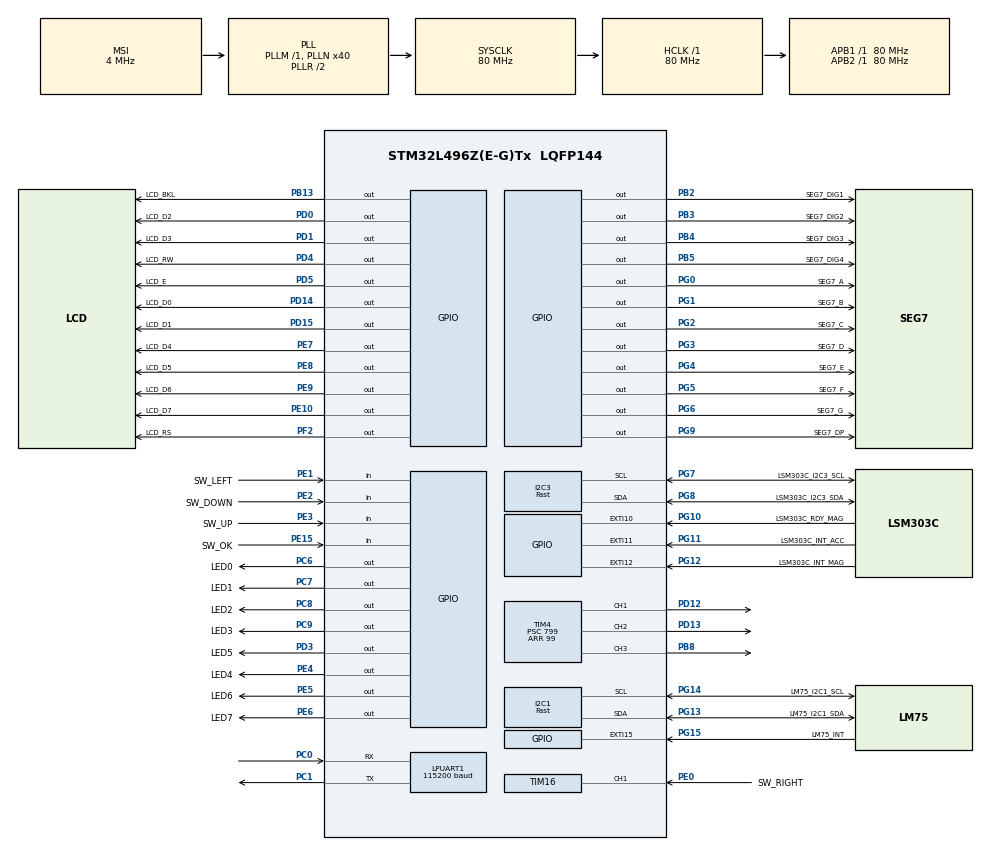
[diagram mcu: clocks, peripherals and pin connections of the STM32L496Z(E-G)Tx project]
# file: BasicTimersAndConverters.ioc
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Dma.I2C3_RX.2.Direction=DMA_PERIPH_TO_MEMORY
Dma.I2C3_RX.2.Instance=DMA1_Channel3
Dma.I2C3_RX.2.MemDataAlignment=DMA_MDATAALIGN_BYTE
Dma.I2C3_RX.2.MemInc=DMA_MINC_ENABLE
Dma.I2C3_RX.2.Mode=DMA_NORMAL
Dma.I2C3_RX.2.PeriphDataAlignment=DMA_PDATAALIGN_BYTE
Dma.I2C3_RX.2.PeriphInc=DMA_PINC_DISABLE
Dma.I2C3_RX.2.Priority=DMA_PRIORITY_LOW
Dma.LPUART_RX.0.Direction=DMA_PERIPH_TO_MEMORY
Dma.LPUART_RX.0.Instance=DMA2_Channel7
Dma.LPUART_RX.0.MemDataAlignment=DMA_MDATAALIGN_BYTE
Dma.LPUART_RX.0.MemInc=DMA_MINC_ENABLE
Dma.LPUART_RX.0.Mode=DMA_NORMAL
Dma.LPUART_RX.0.PeriphDataAlignment=DMA_PDATAALIGN_BYTE
Dma.LPUART_RX.0.PeriphInc=DMA_PINC_DISABLE
Dma.LPUART_RX.0.Priority=DMA_PRIORITY_LOW
Dma.LPUART_TX.1.Direction=DMA_MEMORY_TO_PERIPH
Dma.LPUART_TX.1.Instance=DMA2_Channel6
Dma.LPUART_TX.1.MemDataAlignment=DMA_MDATAALIGN_BYTE
Dma.LPUART_TX.1.MemInc=DMA_MINC_ENABLE
Dma.LPUART_TX.1.Mode=DMA_NORMAL
Dma.LPUART_TX.1.PeriphDataAlignment=DMA_PDATAALIGN_BYTE
Dma.LPUART_TX.1.PeriphInc=DMA_PINC_DISABLE
Dma.LPUART_TX.1.Priority=DMA_PRIORITY_LOW
Dma.Request0=LPUART_RX
Dma.Request1=LPUART_TX
Dma.Request2=I2C3_RX
I2C1.I2C_Fall_Time=300
I2C1.I2C_Rise_Time=300
I2C1.I2C_Speed_Mode=I2C_Fast
I2C1.OwnAddress=0
I2C1.Timing=0x20A60D20
I2C3.I2C_Fall_Time=300
I2C3.I2C_Rise_Time=300
I2C3.I2C_Speed_Mode=I2C_Fast
I2C3.OwnAddress=0x1D
I2C3.Timing=0x20A60D20
LPUART1.BaudRate=115200
LPUART1.WordLength=UART_WORDLENGTH_8B
Mcu.Family=STM32L4
Mcu.Name=STM32L496Z(E-G)Tx
Mcu.Package=LQFP144
NVIC.DMA1_Channel3_IRQn=true\:0\:0\:false\:false\:true\:false\:true
NVIC.DMA2_Channel6_IRQn=true\:0\:0\:false\:false\:true\:false\:true
NVIC.DMA2_Channel7_IRQn=true\:0\:0\:false\:false\:true\:false\:true
NVIC.EXTI15_10_IRQn=true\:0\:0\:false\:false\:true\:true\:true
NVIC.I2C1_EV_IRQn=true\:0\:0\:false\:false\:true\:true\:true
NVIC.I2C3_EV_IRQn=true\:0\:0\:false\:false\:true\:true\:true
NVIC.LPUART1_IRQn=true\:0\:0\:false\:false\:true\:true\:true
NVIC.PriorityGroup=NVIC_PRIORITYGROUP_4
NVIC.TIM1_UP_TIM16_IRQn=true\:0\:0\:false\:false\:true\:true\:true
NVIC.TIM4_IRQn=true\:0\:0\:false\:false\:true\:true\:true
PA13\ (JTMS/SWDIO).Mode=Serial_Wire
PA13\ (JTMS/SWDIO).Signal=SYS_JTMS-SWDIO
PA14\ (JTCK/SWCLK).Mode=Serial_Wire
PA14\ (JTCK/SWCLK).Signal=SYS_JTCK-SWCLK
PB13.GPIO_Label=LCD_BKL
PB13.Signal=GPIO_Output
PB2.GPIO_Label=SEG7_DIG1
PB2.Signal=GPIO_Output
PB3\ (JTDO/TRACESWO).GPIO_Label=SEG7_DIG2
PB3\ (JTDO/TRACESWO).Signal=GPIO_Output
PB4\ (NJTRST).GPIO_Label=SEG7_DIG3
PB4\ (NJTRST).Signal=GPIO_Output
PB5.GPIO_Label=SEG7_DIG4
PB5.Signal=GPIO_Output
PB8.Signal=S_TIM4_CH3
PC0.Mode=Asynchronous
PC0.Signal=LPUART1_RX
PC1.Mode=Asynchronous
PC1.Signal=LPUART1_TX
PC6.GPIO_Label=LED0
PC6.Signal=GPIO_Output
PC7.GPIO_Label=LED1
PC7.Signal=GPIO_Output
PC8.GPIO_Label=LED2
PC8.Signal=GPIO_Output
PC9.GPIO_Label=LED3
PC9.Signal=GPIO_Output
PD0.GPIO_Label=LCD_D2
PD0.Signal=GPIO_Output
PD1.GPIO_Label=LCD_D3
PD1.Signal=GPIO_Output
PD12.Signal=S_TIM4_CH1
PD13.Signal=S_TIM4_CH2
PD14.GPIO_Label=LCD_D0
PD14.Signal=GPIO_Output
PD15.GPIO_Label=LCD_D1
PD15.Signal=GPIO_Output
PD3.GPIO_Label=LED5
PD3.Signal=GPIO_Output
PD4.GPIO_Label=LCD_RW
PD4.Signal=GPIO_Output
PD5.GPIO_Label=LCD_E
PD5.Signal=GPIO_Output
PE0.GPIO_Label=SW_RIGHT
PE0.Signal=S_TIM16_CH1
PE1.GPIO_Label=SW_LEFT
PE1.Signal=GPIO_Input
PE10.GPIO_Label=LCD_D7
PE10.Signal=GPIO_Output
PE15.GPIO_Label=SW_OK
PE15.Signal=GPIO_Input
PE2.GPIO_Label=SW_DOWN
PE2.Signal=GPIO_Input
PE3.GPIO_Label=SW_UP
PE3.Signal=GPIO_Input
PE4.GPIO_Label=LED4
PE4.Signal=GPIO_Output
PE5.GPIO_Label=LED6
PE5.Signal=GPIO_Output
PE6.GPIO_Label=LED7
PE6.Signal=GPIO_Output
PE7.GPIO_Label=LCD_D4
PE7.Signal=GPIO_Output
PE8.GPIO_Label=LCD_D5
PE8.Signal=GPIO_Output
PE9.GPIO_Label=LCD_D6
PE9.Signal=GPIO_Output
PF2.GPIO_Label=LCD_RS
PF2.Signal=GPIO_Output
PG0.GPIO_Label=SEG7_A
PG0.Signal=GPIO_Output
PG1.GPIO_Label=SEG7_B
PG1.Signal=GPIO_Output
PG10.GPIO_Label=LSM303C_RDY_MAG
PG10.GPIO_ModeDefaultEXTI=GPIO_MODE_IT_FALLING
PG10.Signal=GPXTI10
PG11.GPIO_Label=LSM303C_INT_ACC
PG11.GPIO_ModeDefaultEXTI=GPIO_MODE_IT_FALLING
PG11.Signal=GPXTI11
PG12.GPIO_Label=LSM303C_INT_MAG
PG12.GPIO_ModeDefaultEXTI=GPIO_MODE_IT_FALLING
PG12.Signal=GPXTI12
PG13.GPIO_Label=LM75_I2C1_SDA
PG13.Mode=I2C
PG13.Signal=I2C1_SDA
PG14.GPIO_Label=LM75_I2C1_SCL
PG14.Mode=I2C
PG14.Signal=I2C1_SCL
PG15.GPIO_Label=LM75_INT
PG15.GPIO_ModeDefaultEXTI=GPIO_MODE_IT_FALLING
PG15.Signal=GPXTI15
PG2.GPIO_Label=SEG7_C
PG2.Signal=GPIO_Output
PG3.GPIO_Label=SEG7_D
PG3.Signal=GPIO_Output
PG4.GPIO_Label=SEG7_E
PG4.Signal=GPIO_Output
PG5.GPIO_Label=SEG7_F
PG5.Signal=GPIO_Output
PG6.GPIO_Label=SEG7_G
PG6.Signal=GPIO_Output
PG7.GPIO_Label=LSM303C_I2C3_SCL
PG7.Mode=I2C
PG7.Signal=I2C3_SCL
PG8.GPIO_Label=LSM303C_I2C3_SDA
PG8.Mode=I2C
PG8.Signal=I2C3_SDA
PG9.GPIO_Label=SEG7_DP
PG9.Signal=GPIO_Output
ProjectManager.HeapSize=0x200
ProjectManager.StackSize=0x400
ProjectManager.TargetToolchain=STM32CubeIDE
RCC.ADCFreq_Value=32000000
RCC.AHBFreq_Value=80000000
RCC.APB1Freq_Value=80000000
RCC.APB1TimFreq_Value=80000000
RCC.APB2Freq_Value=80000000
RCC.APB2TimFreq_Value=80000000
RCC.CortexFreq_Value=80000000
RCC.HCLKFreq_Value=80000000
RCC.HSE_VALUE=8000000
RCC.HSI48_VALUE=48000000
RCC.HSI_VALUE=16000000
RCC.LSE_VALUE=32768
RCC.MSI_VALUE=4000000
RCC.PLLN=40
RCC.PLLSAI1N=16
RCC.SYSCLKFreq_VALUE=80000000
RCC.SYSCLKSource=RCC_SYSCLKSOURCE_PLLCLK
RCC.USBFreq_Value=32000000
RCC.VCOOutputFreq_Value=160000000
SH.S_TIM16_CH1.0=TIM16_CH1,Input_Capture1_from_TI1
SH.S_TIM4_CH1.0=TIM4_CH1,PWM Generation1 CH1
SH.S_TIM4_CH2.0=TIM4_CH2,PWM Generation2 CH2
SH.S_TIM4_CH3.0=TIM4_CH3,PWM Generation3 CH3
TIM16.Channel=TIM_CHANNEL_1
TIM16.ICPolarity_CH1=TIM_INPUTCHANNELPOLARITY_FALLING
TIM16.Period=49999
TIM16.Prescaler=1599
TIM4.Channel-PWM\ Generation1\ CH1=TIM_CHANNEL_1
TIM4.Channel-PWM\ Generation2\ CH2=TIM_CHANNEL_2
TIM4.Channel-PWM\ Generation3\ CH3=TIM_CHANNEL_3
TIM4.Period=99
TIM4.Prescaler=799
VP_TIM16_VS_ClockSourceINT.Mode=Enable_Timer
VP_TIM4_VS_ClockSourceINT.Mode=Internal
board=custom

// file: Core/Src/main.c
/* USER CODE BEGIN Header */
/**
 ******************************************************************************
 * @file           : main.c
 * @brief          : Main program body
 ******************************************************************************
 * @attention
 *
 * <h2><center>&copy; Copyright (c) 2021 STMicroelectronics.
 * All rights reserved.</center></h2>
 *
 * This software component is licensed by ST under BSD 3-Clause license,
 * the "License"; You may not use this file except in compliance with the
 * License. You may obtain a copy of the License at:
 *                        opensource.org/licenses/BSD-3-Clause
 *
 ******************************************************************************
 */
/* USER CODE END Header */
#include "main.h"
#include "dma.h"
#include "i2c.h"
#include "usart.h"
#include "tim.h"
#include "gpio.h"

/* USER CODE BEGIN Includes */
#include <stdlib.h>
#include <stdio.h>
#include <string.h>
#include <math.h>
#include "sensor.h"
#include "display.h"
#include "lcd.h"
/* USER CODE END Includes */

/* USER CODE BEGIN PTD */
typedef struct
{
	uint16_t second;
	uint16_t milisecond;
	uint16_t microsecond;
}TimeStamp_t;
/* USER CODE END PTD */

/* USER CODE BEGIN PV */
TimeStamp_t timeStamp, timeBefore;
uint16_t second = 0;
FlagStatus update = RESET;
/* USER CODE END PV */

void SystemClock_Config(void);

int main(void)
{

  /* MCU Configuration--------------------------------------------------------*/

  /* Reset of all peripherals, Initializes the Flash interface and the Systick. */
  HAL_Init();

  /* Configure the system clock */
  SystemClock_Config();

  /* Initialize all configured peripherals */
  MX_GPIO_Init();
  MX_DMA_Init();
  MX_LPUART1_UART_Init();
  MX_I2C1_Init();
  MX_I2C3_Init();
  MX_TIM4_Init();
  MX_TIM16_Init();

  /* Infinite loop */
  /* USER CODE BEGIN WHILE */
 char lcd[16];
 LCD_Init();
 LCD_BacklightOn();
 HAL_TIM_Base_Start_IT(&htim16);
 HAL_TIM_IC_Start_IT(&htim16, TIM_CHANNEL_1);
  while (1)
  {
	 if (update)
	 {
		 sprintf(lcd, "%d.%03d.%03d", (int) timeStamp.second,
				 (int) timeStamp.milisecond, (int) timeStamp.microsecond);
		 LCD_WriteTextXY((uint8_t*) lcd, strlen(lcd), 1, 1);

		 uint32_t diff = (uint32_t) timeStamp.second * 1000000 + timeStamp.milisecond * 1000 + timeStamp.microsecond;
		 //przeliczam wszystko na mikrosekundy
		 diff -= ((uint32_t) timeBefore.second * 1000000 + timeBefore.milisecond * 1000 + timeBefore.microsecond);
		 // zamiana na format mm:ss:milimili:mikromikro
		 uint16_t minutes = diff / (60 * 1000000);
		 diff = diff % (60 * 1000000);
		 uint16_t seconds = diff / 1000000;
		 diff = diff % 1000000;
		 uint16_t milis = diff / 1000;
		 diff = diff % 1000;
		 uint16_t micros = diff;
		 sprintf(lcd, "%02d.%02d.%03d.%03d", (int) minutes, (int) seconds,
		 				 (int) milis, (int) micros);
		 		 LCD_WriteTextXY((uint8_t*) lcd, strlen(lcd), 2, 1);

		 update = RESET;

	 }
  }
    /* USER CODE END WHILE */

}

void SystemClock_Config(void)
{
  RCC_OscInitTypeDef RCC_OscInitStruct = {0};
  RCC_ClkInitTypeDef RCC_ClkInitStruct = {0};

  /** Configure the main internal regulator output voltage
  */
  if (HAL_PWREx_ControlVoltageScaling(PWR_REGULATOR_VOLTAGE_SCALE1) != HAL_OK)
  {
    Error_Handler();
  }
  /** Initializes the RCC Oscillators according to the specified parameters
  * in the RCC_OscInitTypeDef structure.
  */
  RCC_OscInitStruct.OscillatorType = RCC_OSCILLATORTYPE_LSI|RCC_OSCILLATORTYPE_MSI;
  RCC_OscInitStruct.LSIState = RCC_LSI_ON;
  RCC_OscInitStruct.MSIState = RCC_MSI_ON;
  RCC_OscInitStruct.MSICalibrationValue = 0;
  RCC_OscInitStruct.MSIClockRange = RCC_MSIRANGE_6;
  RCC_OscInitStruct.PLL.PLLState = RCC_PLL_ON;
  RCC_OscInitStruct.PLL.PLLSource = RCC_PLLSOURCE_MSI;
  RCC_OscInitStruct.PLL.PLLM = 1;
  RCC_OscInitStruct.PLL.PLLN = 40;
  RCC_OscInitStruct.PLL.PLLP = RCC_PLLP_DIV2;
  RCC_OscInitStruct.PLL.PLLQ = RCC_PLLQ_DIV2;
  RCC_OscInitStruct.PLL.PLLR = RCC_PLLR_DIV2;
  if (HAL_RCC_OscConfig(&RCC_OscInitStruct) != HAL_OK)
  {
    Error_Handler();
  }
  /** Initializes the CPU, AHB and APB buses clocks
  */
  RCC_ClkInitStruct.ClockType = RCC_CLOCKTYPE_HCLK|RCC_CLOCKTYPE_SYSCLK
                              |RCC_CLOCKTYPE_PCLK1|RCC_CLOCKTYPE_PCLK2;
  RCC_ClkInitStruct.SYSCLKSource = RCC_SYSCLKSOURCE_PLLCLK;
  RCC_ClkInitStruct.AHBCLKDivider = RCC_SYSCLK_DIV1;
  RCC_ClkInitStruct.APB1CLKDivider = RCC_HCLK_DIV1;
  RCC_ClkInitStruct.APB2CLKDivider = RCC_HCLK_DIV1;

  if (HAL_RCC_ClockConfig(&RCC_ClkInitStruct, FLASH_LATENCY_4) != HAL_OK)
  {
    Error_Handler();
  }
}

/* USER CODE BEGIN 4 */
void HAL_SYSTICK_Callback(void) {
	SEG_Callback();
	SW_SysTickCallback();
}

void HAL_TIM_PeriodElapsedCallback(TIM_HandleTypeDef *htim)
{
	if (htim->Instance == TIM16)
		second++;
}

void HAL_TIM_IC_CaptureCallback(TIM_HandleTypeDef *htim)
{
	if (htim->Instance == TIM16)
	{
		if (htim->Channel == HAL_TIM_ACTIVE_CHANNEL_1)
		{
			uint32_t microsecond = HAL_TIM_ReadCapturedValue(htim,
					TIM_CHANNEL_1) *20;
			// zapisuje stan obecnego do timeBefore
			timeBefore.second = timeStamp.second;
			timeBefore.milisecond = timeStamp.milisecond;
			timeBefore.microsecond = timeStamp.microsecond;
			// uaktualniam timeStamp
			timeStamp.second = second;
			timeStamp.milisecond = (uint16_t) (microsecond / 1000);
			timeStamp.microsecond = (uint16_t) (microsecond % 1000);
			update = SET;
		}
	}
}
/* USER CODE END 4 */

void Error_Handler(void)
{
	__disable_irq();
	while (1) {
	}
}
